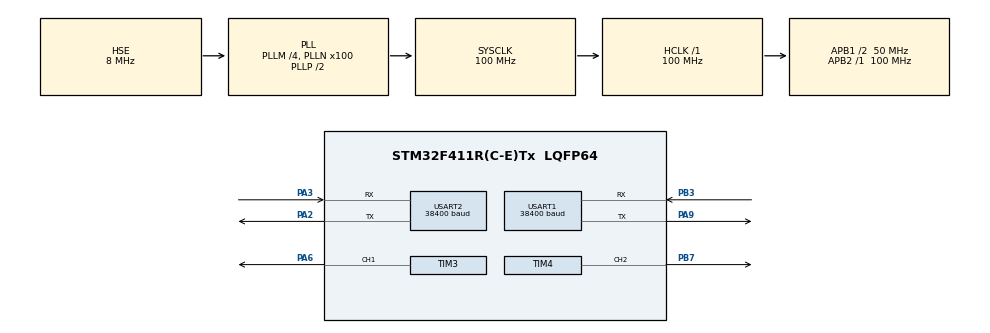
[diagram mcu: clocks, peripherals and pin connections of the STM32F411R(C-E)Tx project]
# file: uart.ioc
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Mcu.Family=STM32F4
Mcu.Name=STM32F411R(C-E)Tx
Mcu.Package=LQFP64
NVIC.PriorityGroup=NVIC_PRIORITYGROUP_4
NVIC.USART1_IRQn=true\:0\:0\:false\:false\:true\:true\:true\:true
PA13.Mode=Serial_Wire
PA13.Signal=SYS_JTMS-SWDIO
PA14.Mode=Serial_Wire
PA14.Signal=SYS_JTCK-SWCLK
PA2.GPIO_PuPd=GPIO_NOPULL
PA2.GPIO_Speed=GPIO_SPEED_FREQ_HIGH
PA2.Mode=Asynchronous
PA2.Signal=USART2_TX
PA3.GPIO_PuPd=GPIO_NOPULL
PA3.GPIO_Speed=GPIO_SPEED_FREQ_HIGH
PA3.Mode=Asynchronous
PA3.Signal=USART2_RX
PA6.Signal=S_TIM3_CH1
PA9.GPIO_PuPd=GPIO_NOPULL
PA9.GPIO_Speed=GPIO_SPEED_FREQ_HIGH
PA9.Mode=Asynchronous
PA9.Signal=USART1_TX
PB3.GPIO_PuPd=GPIO_NOPULL
PB3.GPIO_Speed=GPIO_SPEED_FREQ_HIGH
PB3.Mode=Asynchronous
PB3.Signal=USART1_RX
PB7.Signal=S_TIM4_CH2
PH0\ -\ OSC_IN.Mode=HSE-External-Oscillator
PH0\ -\ OSC_IN.Signal=RCC_OSC_IN
PH1\ -\ OSC_OUT.Mode=HSE-External-Oscillator
PH1\ -\ OSC_OUT.Signal=RCC_OSC_OUT
ProjectManager.HeapSize=0x200
ProjectManager.StackSize=0x400
ProjectManager.TargetToolchain=STM32CubeIDE
RCC.48MHZClocksFreq_Value=50000000
RCC.AHBFreq_Value=100000000
RCC.APB1CLKDivider=RCC_HCLK_DIV2
RCC.APB1Freq_Value=50000000
RCC.APB1TimFreq_Value=100000000
RCC.APB2Freq_Value=100000000
RCC.APB2TimFreq_Value=100000000
RCC.CortexFreq_Value=100000000
RCC.HCLKFreq_Value=100000000
RCC.HSE_VALUE=8000000
RCC.HSI_VALUE=16000000
RCC.LSE_VALUE=32768
RCC.PLLM=4
RCC.PLLN=100
RCC.PLLSourceVirtual=RCC_PLLSOURCE_HSE
RCC.SYSCLKFreq_VALUE=100000000
RCC.SYSCLKSource=RCC_SYSCLKSOURCE_PLLCLK
RCC.VCOOutputFreq_Value=200000000
SH.S_TIM3_CH1.0=TIM3_CH1,PWM Generation1 CH1
SH.S_TIM4_CH2.0=TIM4_CH2,PWM Generation2 CH2
TIM3.Channel-PWM\ Generation1\ CH1=TIM_CHANNEL_1
TIM3.Period=1000-1
TIM3.Prescaler=1000-1
TIM4.Channel-PWM\ Generation2\ CH2=TIM_CHANNEL_2
TIM4.Period=1000-1
TIM4.Prescaler=1000-1
USART1.BaudRate=38400
USART1.StopBits=STOPBITS_1
USART1.VirtualMode=VM_ASYNC
USART2.BaudRate=38400
USART2.VirtualMode=VM_ASYNC
board=custom

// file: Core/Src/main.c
/* USER CODE BEGIN Header */
/**
  ******************************************************************************
  * @file           : main.c
  * @brief          : STM32 ADC Monitor (Basys3 + HC-05) + Motor Control
  ******************************************************************************
  */
/* USER CODE END Header */
#include "main.h"
#include "tim.h"
#include "usart.h"
#include "gpio.h"

/* USER CODE BEGIN PTD */
extern UART_HandleTypeDef huart1;
extern UART_HandleTypeDef huart2;

// UART 수신 관련

#define RX_BUF_SIZE 64
uint8_t rxData;
char rx_buf[RX_BUF_SIZE];
uint8_t rx_index = 0;
volatile uint8_t rx_complete = 0;

// 조이스틱 데이터 처리 관련
uint32_t joystick[4] = {2048, 2048, 2048, 2048}; // 실제 적용될 값 (초기값: 중립)
uint32_t temp_joystick[4] = {2048, 2048, 2048, 2048}; // 임시 저장용 버퍼

// 모터 제어 관련
typedef enum {
    MODE_MANUAL = 0,
    MODE_AUTO = 1
} MotorMode_t;

uint8_t toggleModeFlag = 0;
volatile uint8_t newValueFlag = 0;
static uint32_t lastToggleTime = 0;

volatile uint16_t currentCcrLeft = 0;
volatile uint16_t currentCcrRight = 0;
volatile uint16_t targetCcrLeft = 0;
volatile uint16_t targetCcrRight = 0;
volatile uint16_t lastSpeed = 300;
volatile MotorMode_t currentMode = MODE_MANUAL;

#define SPEED_STEP 10

/* USER CODE END PTD */

/* USER CODE BEGIN PM */
#ifdef __GNUC__
#define PUTCHAR_PROTOTYPE int __io_putchar(int ch)
#else
#define PUTCHAR_PROTOTYPE int fputc(int ch, FILE *f)
#endif

PUTCHAR_PROTOTYPE
{
    if(ch == '\n') HAL_UART_Transmit(&huart2, (uint8_t*)"\r", 1, 1000);
    HAL_UART_Transmit(&huart2, (uint8_t*)&ch, 1, 1000);
    return ch;
}
/* USER CODE END PM */

void SystemClock_Config(void);
/* USER CODE BEGIN PFP */
// 모터 제어 함수 선언
MotorMode_t GetCurrentMode(void);
void UpdateMotorSpeed(void);
void SetMotorDirection_Safe(void);
void Motor_Init(void);
void Motor_Task(void);
/* USER CODE END PFP */

/* USER CODE BEGIN 0 */
/* USER CODE BEGIN 0 */

// 모터 관련 함수들
MotorMode_t GetCurrentMode(void)
{
    // 사용자의 하드웨어에 맞게 핀 설정을 확인해야 합니다.
    // 예시: PB13, PB14 핀으로 모드 감지
    GPIO_PinState pc1 = HAL_GPIO_ReadPin(GPIOB, GPIO_PIN_13);
    GPIO_PinState pc0 = HAL_GPIO_ReadPin(GPIOB, GPIO_PIN_14);

    if (pc1 == GPIO_PIN_SET && pc0 == GPIO_PIN_RESET)
    {
        return MODE_AUTO;
    }
    else
    {
        return MODE_MANUAL;
    }
}

void UpdateMotorSpeed(void)
{
    // 현재 속도에서 목표 속도로 부드럽게 변경
    if (currentCcrLeft < targetCcrLeft)
        currentCcrLeft = (currentCcrLeft + SPEED_STEP > targetCcrLeft) ? targetCcrLeft : currentCcrLeft + SPEED_STEP;
    else if (currentCcrLeft > targetCcrLeft)
        currentCcrLeft = (currentCcrLeft < SPEED_STEP + targetCcrLeft) ? targetCcrLeft : currentCcrLeft - SPEED_STEP;

    if (currentCcrRight < targetCcrRight)
        currentCcrRight = (currentCcrRight + SPEED_STEP > targetCcrRight) ? targetCcrRight : currentCcrRight + SPEED_STEP;
    else if (currentCcrRight > targetCcrRight)
        currentCcrRight = (currentCcrRight < SPEED_STEP + targetCcrRight) ? targetCcrRight : currentCcrRight - SPEED_STEP;

    // PWM 듀티 사이클 업데이트 (최소값 이하일 경우 0으로 처리)
    TIM3->CCR2 = (currentCcrLeft < 200) ? 0 : currentCcrLeft;
    TIM4->CCR2 = (currentCcrRight < 200) ? 0 : currentCcrRight;
}

void SetMotorDirection_Safe(void)
{
    // 모터 드라이버 방향 핀을 모두 LOW로 설정하여 정지 상태로 만듦
    HAL_GPIO_WritePin(GPIOA, GPIO_PIN_1, GPIO_PIN_RESET);
    HAL_GPIO_WritePin(GPIOA, GPIO_PIN_0, GPIO_PIN_RESET);
    HAL_GPIO_WritePin(GPIOA, GPIO_PIN_4, GPIO_PIN_RESET);
    HAL_GPIO_WritePin(GPIOB, GPIO_PIN_0, GPIO_PIN_RESET);
}

void Motor_Init(void)
{
    // PWM 타이머 채널 시작
    HAL_TIM_PWM_Start(&htim3, TIM_CHANNEL_2);
    HAL_TIM_PWM_Start(&htim4, TIM_CHANNEL_2);

    // 변수 초기화
    currentCcrLeft = 0;
    currentCcrRight = 0;
    targetCcrLeft = 0;
    targetCcrRight = 0;

    // 모터를 안전한 정지 상태로 초기화
    SetMotorDirection_Safe();

    // 초기 모드 설정
    currentMode = GetCurrentMode();

    printf("[MOTOR] Initialized - Mode: %s\r\n", (currentMode == MODE_AUTO) ? "AUTO" : "MANUAL");
}

void Motor_Task(void)
{
    // 스위치를 통해 모터 모드 변경 감지
    MotorMode_t newMode = GetCurrentMode();
    if (newMode != currentMode)
    {
        currentMode = newMode;
        printf("[MOTOR] Mode changed to: %s\r\n", (currentMode == MODE_AUTO) ? "AUTO" : "MANUAL");

        // 모드 변경 시 모터를 정지시켜 안전 확보
        SetMotorDirection_Safe();
        targetCcrLeft = 0;
        targetCcrRight = 0;
    }

    // 모터 속도 점진적 업데이트
    UpdateMotorSpeed();
}

// 이 아래에 HAL_UART_RxCpltCallback, Process_Received_Data 함수가 이어집니다.
// ...

/* USER CODE END 0 */
// 모터 관련 함수들

void HAL_UART_RxCpltCallback(UART_HandleTypeDef *huart)
{
    if (huart->Instance != USART1) return;

    // 라인 종료 문자('\r' 또는 '\n')를 받으면 라인 수신 완료로 처리
    if (rxData == '\r' || rxData == '\n')
    {
        if (rx_index > 0) // 내용이 있을 때만 처리
        {
            rx_buf[rx_index] = '\0'; // Null 문자로 문자열 종료
            rx_complete = 1;
            rx_index = 0;
        }
    }
    else
    {
        // 버퍼 크기를 넘지 않는 경우에만 데이터 저장
        if (rx_index < RX_BUF_SIZE - 1)
        {
            rx_buf[rx_index++] = rxData;
        }
        else
        {
            // 버퍼 오버플로우 방지 (에러 처리)
            rx_index = 0;
        }
    }

    // 다음 1바이트 수신을 위해 인터럽트 다시 활성화
    HAL_UART_Receive_IT(&huart1, &rxData, 1);
}

/* 수신 데이터 파싱 및 처리 */
void Process_Received_Data(void)
{
    if (!rx_complete) return; // 수신 완료 플래그가 설정되지 않았으면 리턴

    // [중요] 디버깅을 위해 수신된 문자열을 그대로 출력!
    // 이 부분을 통해 데이터가 제대로 들어오는지 확인해야 합니다.
    printf("RX: %s\n", rx_buf);

    if (strncmp(rx_buf, "X1:", 3) == 0) temp_joystick[0] = atoi(&rx_buf[3]);
    else if (strncmp(rx_buf, "Y1:", 3) == 0) temp_joystick[1] = atoi(&rx_buf[3]);
    else if (strncmp(rx_buf, "X2:", 3) == 0) temp_joystick[2] = atoi(&rx_buf[3]);
    else if (strncmp(rx_buf, "Y2:", 3) == 0) temp_joystick[3] = atoi(&rx_buf[3]);
    else if (strcmp(rx_buf, "NEUTRAL") == 0)
    {
        // NEUTRAL 신호를 받으면 즉시 모든 값을 중립으로 설정
        joystick[0] = 2048;
        joystick[1] = 2048;
        joystick[2] = 2048;
        joystick[3] = 2048;
    }
    else if (strcmp(rx_buf, "END") == 0)
    {
        // END 신호를 받으면 임시 버퍼의 값을 실제 joystick 배열로 복사 (원자적 업데이트)
        memcpy(joystick, temp_joystick, sizeof(temp_joystick));
    }

    // 처리가 끝났으므로 플래그 리셋
    rx_complete = 0;
}
/* USER CODE END 0 */

int main(void)
{

  /* MCU Configuration--------------------------------------------------------*/

  /* Reset of all peripherals, Initializes the Flash interface and the Systick. */
  HAL_Init();

  /* Configure the system clock */
  SystemClock_Config();

  /* Initialize all configured peripherals */
  MX_GPIO_Init();
  MX_USART1_UART_Init();
  MX_USART2_UART_Init();
  MX_TIM3_Init();
  MX_TIM4_Init();
  /* USER CODE BEGIN 2 */

    // 시스템 시작 메시지
    printf("=== STM32 Bluetooth Receiver + Motor Control ===\r\n");
    printf("Waiting for data from Basys3...\r\n");

    // 변수 초기화
    rx_index = 0;
    rx_complete = 0;
    memset(rx_buf, 0, RX_BUF_SIZE);

    // 모터 초기화
    Motor_Init();

    // UART 인터럽트 수신 시작
    HAL_UART_Receive_IT(&huart1, &rxData, 1);
    HAL_NVIC_SetPriority(TIM1_CC_IRQn, 0, 0);
    HAL_NVIC_EnableIRQ(TIM1_CC_IRQn);

  /* USER CODE END 2 */

  /* Infinite loop */
  /* USER CODE BEGIN WHILE */
    while(1)
    {
    	Process_Received_Data();

    	        // 모드에 따른 모터 속도 적용
    	        if (currentMode == MODE_MANUAL)
    	        {
    	            // Y1 (joystick[1]) 값으로 왼쪽 모터 속도 제어
    	            // Y2 (joystick[3]) 값으로 오른쪽 모터 속도 제어
    	            // 4095 (12비트) 값을 1023 (10비트) PWM 값으로 변환 (>> 2)
    	            // 필요에 따라 조종 방식을 변경할 수 있습니다.
    	            targetCcrLeft = joystick[1] >> 2;
    	            targetCcrRight = joystick[3] >> 2;
    	        }
    	        else
    	        {
    	            // AUTO 모드일 때의 동작 (필요시 구현)
    	            targetCcrLeft = 0;
    	            targetCcrRight = 0;
    	        }

    	        // 모터 업데이트 태스크 실행
    	        Motor_Task();

    	        HAL_Delay(10); // 시스템 부하를 줄이기 위한 짧은 딜레이
    /* USER CODE END WHILE */

    }
}

void SystemClock_Config(void)
{
  RCC_OscInitTypeDef RCC_OscInitStruct = {0};
  RCC_ClkInitTypeDef RCC_ClkInitStruct = {0};

  /** Configure the main internal regulator output voltage
  */
  __HAL_RCC_PWR_CLK_ENABLE();
  __HAL_PWR_VOLTAGESCALING_CONFIG(PWR_REGULATOR_VOLTAGE_SCALE1);

  /** Initializes the RCC Oscillators according to the specified parameters
  * in the RCC_OscInitTypeDef structure.
  */
  RCC_OscInitStruct.OscillatorType = RCC_OSCILLATORTYPE_HSE;
  RCC_OscInitStruct.HSEState = RCC_HSE_ON;
  RCC_OscInitStruct.PLL.PLLState = RCC_PLL_ON;
  RCC_OscInitStruct.PLL.PLLSource = RCC_PLLSOURCE_HSE;
  RCC_OscInitStruct.PLL.PLLM = 4;
  RCC_OscInitStruct.PLL.PLLN = 100;
  RCC_OscInitStruct.PLL.PLLP = RCC_PLLP_DIV2;
  RCC_OscInitStruct.PLL.PLLQ = 4;
  if (HAL_RCC_OscConfig(&RCC_OscInitStruct) != HAL_OK)
  {
    Error_Handler();
  }

  /** Initializes the CPU, AHB and APB buses clocks
  */
  RCC_ClkInitStruct.ClockType = RCC_CLOCKTYPE_HCLK|RCC_CLOCKTYPE_SYSCLK
                              |RCC_CLOCKTYPE_PCLK1|RCC_CLOCKTYPE_PCLK2;
  RCC_ClkInitStruct.SYSCLKSource = RCC_SYSCLKSOURCE_PLLCLK;
  RCC_ClkInitStruct.AHBCLKDivider = RCC_SYSCLK_DIV1;
  RCC_ClkInitStruct.APB1CLKDivider = RCC_HCLK_DIV2;
  RCC_ClkInitStruct.APB2CLKDivider = RCC_HCLK_DIV1;

  if (HAL_RCC_ClockConfig(&RCC_ClkInitStruct, FLASH_LATENCY_3) != HAL_OK)
  {
    Error_Handler();
  }
}

void Error_Handler(void)
{
  __disable_irq();
  while (1)
  {
  }
}
